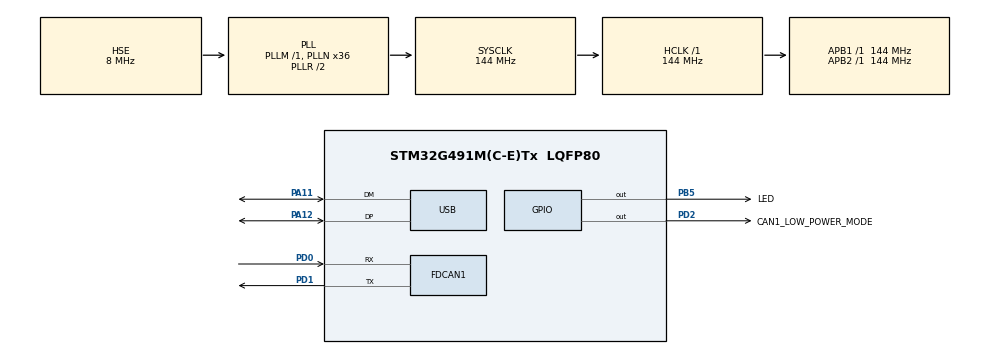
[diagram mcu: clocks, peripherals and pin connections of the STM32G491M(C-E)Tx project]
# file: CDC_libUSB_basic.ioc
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FDCAN1.AutoRetransmission=ENABLE
FDCAN1.FrameFormat=FDCAN_FRAME_CLASSIC
FDCAN1.NominalPrescaler=90
FDCAN1.NominalSyncJumpWidth=128
FDCAN1.NominalTimeSeg1=13
Mcu.Family=STM32G4
Mcu.Name=STM32G491M(C-E)Tx
Mcu.Package=LQFP80
NVIC.PriorityGroup=NVIC_PRIORITYGROUP_4
NVIC.USB_LP_IRQn=true\:0\:0\:false\:false\:true\:true\:true
PA11.Mode=Device
PA11.Signal=USB_DM
PA12.Mode=Device
PA12.Signal=USB_DP
PA13.Mode=Trace_Asynchronous_SW
PA13.Signal=SYS_JTMS-SWDIO
PA14.Mode=Trace_Asynchronous_SW
PA14.Signal=SYS_JTCK-SWCLK
PB3.Mode=Trace_Asynchronous_SW
PB3.Signal=SYS_JTDO-SWO
PB5.GPIO_Label=LED
PB5.Signal=GPIO_Output
PD0.Mode=FDCAN_Activate
PD0.Signal=FDCAN1_RX
PD1.Mode=FDCAN_Activate
PD1.Signal=FDCAN1_TX
PD2.GPIO_Label=CAN1_LOW_POWER_MODE
PD2.Signal=GPIO_Output
PF0-OSC_IN.Mode=HSE-External-Oscillator
PF0-OSC_IN.Signal=RCC_OSC_IN
PF1-OSC_OUT.Mode=HSE-External-Oscillator
PF1-OSC_OUT.Signal=RCC_OSC_OUT
ProjectManager.HeapSize=0x800
ProjectManager.StackSize=0x400
ProjectManager.TargetToolchain=STM32CubeIDE
RCC.ADC12Freq_Value=144000000
RCC.ADC345Freq_Value=144000000
RCC.AHBFreq_Value=144000000
RCC.APB1Freq_Value=144000000
RCC.APB1TimFreq_Value=144000000
RCC.APB2Freq_Value=144000000
RCC.APB2TimFreq_Value=144000000
RCC.CK48CLockSelection=RCC_USBCLKSOURCE_PLL
RCC.CortexFreq_Value=144000000
RCC.EXTERNAL_CLOCK_VALUE=12288000
RCC.HCLKFreq_Value=144000000
RCC.HSE_VALUE=8000000
RCC.HSI48_VALUE=48000000
RCC.HSI_VALUE=16000000
RCC.LSE_VALUE=32768
RCC.PLLN=36
RCC.PLLQ=RCC_PLLQ_DIV6
RCC.PLLSourceVirtual=RCC_PLLSOURCE_HSE
RCC.SYSCLKFreq_VALUE=144000000
RCC.SYSCLKSource=RCC_SYSCLKSOURCE_PLLCLK
RCC.USBFreq_Value=48000000
RCC.VCOOutputFreq_Value=288000000
USB_DEVICE.APP_RX_DATA_SIZE=1000
USB_DEVICE.APP_TX_DATA_SIZE=1000
USB_DEVICE.CLASS_NAME_FS=CDC
USB_DEVICE.PID_CDC_FS=0x0775
USB_DEVICE.PRODUCT_STRING_CDC_FS=cdc_libUSB_
USB_DEVICE.VID=0x1209
USB_DEVICE.VirtualMode=Cdc
USB_DEVICE.VirtualModeFS=Cdc_FS
VP_SYS_VS_DBSignals.Mode=DisableDeadBatterySignals
VP_USB_DEVICE_VS_USB_DEVICE_CDC_FS.Mode=CDC_FS
board=custom

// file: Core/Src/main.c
/* USER CODE BEGIN Header */
/**
  ******************************************************************************
  * @file           : main.c
  * @brief          : Main program body
  ******************************************************************************
  * @attention
  *
  * Copyright (c) 2022 STMicroelectronics.
  * All rights reserved.
  *
  * This software is licensed under terms that can be found in the LICENSE file
  * in the root directory of this software component.
  * If no LICENSE file comes with this software, it is provided AS-IS.
  *
  ******************************************************************************
  */
/* USER CODE END Header */
#include "main.h"
#include "usb_device.h"

/* USER CODE BEGIN Includes */
#include "ucan_fd_protocol_stm32g431.h"
#include "RING.h"
#include "usbd_cdc.h"
#include "usbd_cdc_if.h"
#include "dwt_delay.h"
#include "jump_to_boot.h"
/* USER CODE END Includes */

FDCAN_HandleTypeDef hfdcan1;

/* USER CODE BEGIN PV */
Ring_type usb_rx;
Ring_type usb_tx;
static volatile int i = 0;
uint8_t gotoboot_flag = 0;
uint32_t status_sys_tick;
/* USER CODE END PV */

void SystemClock_Config(void);
static void MX_GPIO_Init(void);
static void MX_FDCAN1_Init(void);
/* USER CODE BEGIN PFP */
extern USBD_HandleTypeDef hUsbDeviceFS;
/* USER CODE END PFP */

/* USER CODE BEGIN 0 */

UCAN_RxFrameDef can_rx_frames = {UCAN_FD_RX, 0, {} };

volatile static int counter = 1;
void TurnOffBoot0();
/* USER CODE END 0 */

int main(void)
{
  /* USER CODE BEGIN 1 */
    TurnOffBoot0();
    TurnOffBoot0();
  /* USER CODE END 1 */

  /* MCU Configuration--------------------------------------------------------*/

  /* Reset of all peripherals, Initializes the Flash interface and the Systick. */
  HAL_Init();

  /* USER CODE BEGIN Init */
    DWT_Init();
  /* USER CODE END Init */

  /* Configure the system clock */
  SystemClock_Config();

  /* Initialize all configured peripherals */
  MX_GPIO_Init();
  MX_USB_Device_Init();
  MX_FDCAN1_Init();
  /* USER CODE BEGIN 2 */
    HAL_FDCAN_Start(&hfdcan1);

    RING_init(&usb_rx);
    RING_init(&usb_tx);

    for (uint8_t i = 0; i < 10; i++)
    {
        HAL_Delay(i * 10);
        HAL_GPIO_TogglePin(LED_GPIO_Port, LED_Pin);
    }
  /* USER CODE END 2 */

  /* Infinite loop */
  /* USER CODE BEGIN WHILE */

//    while (1)
//    {
//
//        static uint8_t TxData[8];
//        static FDCAN_TxHeaderTypeDef TxHeader;
//        // Prepare Tx Header
//        TxHeader.Identifier = 0x321;
//        TxHeader.IdType = FDCAN_STANDARD_ID;
//        TxHeader.TxFrameType = FDCAN_DATA_FRAME;
//        TxHeader.DataLength = FDCAN_DLC_BYTES_8;
//        TxHeader.ErrorStateIndicator = FDCAN_ESI_ACTIVE;
//        TxHeader.BitRateSwitch = FDCAN_BRS_OFF;
//        TxHeader.FDFormat = FDCAN_CLASSIC_CAN;
//        TxHeader.TxEventFifoControl = FDCAN_NO_TX_EVENTS;
//        TxHeader.MessageMarker = 0;
//
//        while (1)
//        {
//            HAL_Delay(1000);
//            // Set the data to be transmitted
//            TxData[0] = 1;
//            TxData[1] = 0xAD;
//            TxData[7] = 0x36;
//            // Start the Transmission process
//            if (HAL_FDCAN_AddMessageToTxFifoQ(&hfdcan1, &TxHeader, TxData) != HAL_OK)
//            {
//                //Transmission request Error
//                Error_Handler();
//            }
//
//            //volatile uint32_t rx_fill = HAL_FDCAN_GetRxFifoFillLevel(&hfdcan1, FDCAN_RX_FIFO0);
//        }
//    }
    while (1)
    {
        volatile uint32_t rx_fill = HAL_FDCAN_GetRxFifoFillLevel(&hfdcan1,
        FDCAN_RX_FIFO0);
        //volatile uint32_t tx_fill = HAL_FDCAN_GetTxFifoFreeLevel(&hfdcan1);
        static Ring_item* data_ptr;

        //HAL_WWDG_Refresh(&hwwdg);

        data_ptr = RING_get(&usb_rx);
        if (data_ptr->data != NULL)
        {
            //FDCAN_InitTypeDef init_values;
            if (UCAN_execute_USB_to_CAN_frame(data_ptr->data) == 0)
            {

            }
        }

//		if (RING_is_empty(&usb_tx) == 0) {
//        //last delay
//        volatile uint32_t systic = HAL_GetTick();
//        DWT_Delay(300); /*300 us delay workaround for short frames  (@TODO fix this and test against 1 byte CAN data frame )*/
//
//        if (DWT_us_Timer_Done() == 1) /*non blocking workaround*/
        {
            if (CDC_Is_Busy() != USBD_BUSY)
            {
                if (can_rx_frames.can_frame_count > 0)
                {
                    data_ptr->data = (uint8_t*)&can_rx_frames;
                    data_ptr->len = sizeof(UCAN_RxFrameDef);
                }
                else // handle rest of frames is no CAN transactions
                {
                    data_ptr = RING_get(&usb_tx);
                }
                if (data_ptr->len != 0)
                {
                    while (CDC_Transmit_FS(data_ptr->data, data_ptr->len) == USBD_BUSY);
                    if (data_ptr->len == sizeof(UCAN_RxFrameDef))
                    {
                        can_rx_frames.can_frame_count = 0;
                    }
                    status_sys_tick = HAL_GetTick();
                    if (gotoboot_flag == 1)
                    {
                        for (uint8_t i = 0; i < 5; i++)
                        {
                            HAL_Delay(i * 200);
                            HAL_GPIO_TogglePin(LED_GPIO_Port, LED_Pin);
                        }
                        RebootToBootloader();
                    }
                }
            }
        }
//		}

        //reset device if no status frames
        if ((HAL_GetTick() - status_sys_tick) > 5000)
        {
            HAL_NVIC_SystemReset();
        }

        if (rx_fill >= 1)
        {
            if (can_rx_frames.can_frame_count < UCAN_RX_FRAME_DEF_CAN_COUNT_MAX)
            {

                if (HAL_FDCAN_GetRxMessage(&hfdcan1, FDCAN_RX_FIFO0,
                                           &(can_rx_frames.can_frame[can_rx_frames.can_frame_count].can_rx_header),
                                           can_rx_frames.can_frame[can_rx_frames.can_frame_count].can_data) == HAL_OK)
                {
                    // add EFF flag to ID if frame is extended:
                    if (can_rx_frames.can_frame[can_rx_frames.can_frame_count].can_rx_header.IdType == FDCAN_EXTENDED_ID)
                    {
                        can_rx_frames.can_frame[can_rx_frames.can_frame_count].can_rx_header.Identifier |= CAN_EFF_FLAG;
                    }

                    // clear packed_flags_and_error_counters
                    can_rx_frames.can_frame[can_rx_frames.can_frame_count].packed_flags_and_error_counters = 0;

                    HAL_GPIO_TogglePin(LED_GPIO_Port, LED_Pin);
                    i++;
                    can_rx_frames.can_frame_count++;
                }
            }
        }
    }
    /* USER CODE END WHILE */

}

void SystemClock_Config(void)
{
  RCC_OscInitTypeDef RCC_OscInitStruct = {0};
  RCC_ClkInitTypeDef RCC_ClkInitStruct = {0};

  /** Configure the main internal regulator output voltage
  */
  HAL_PWREx_ControlVoltageScaling(PWR_REGULATOR_VOLTAGE_SCALE1);
  /** Initializes the RCC Oscillators according to the specified parameters
  * in the RCC_OscInitTypeDef structure.
  */
  RCC_OscInitStruct.OscillatorType = RCC_OSCILLATORTYPE_HSE;
  RCC_OscInitStruct.HSEState = RCC_HSE_ON;
  RCC_OscInitStruct.PLL.PLLState = RCC_PLL_ON;
  RCC_OscInitStruct.PLL.PLLSource = RCC_PLLSOURCE_HSE;
  RCC_OscInitStruct.PLL.PLLM = RCC_PLLM_DIV1;
  RCC_OscInitStruct.PLL.PLLN = 36;
  RCC_OscInitStruct.PLL.PLLP = RCC_PLLP_DIV2;
  RCC_OscInitStruct.PLL.PLLQ = RCC_PLLQ_DIV6;
  RCC_OscInitStruct.PLL.PLLR = RCC_PLLR_DIV2;
  if (HAL_RCC_OscConfig(&RCC_OscInitStruct) != HAL_OK)
  {
    Error_Handler();
  }
  /** Initializes the CPU, AHB and APB buses clocks
  */
  RCC_ClkInitStruct.ClockType = RCC_CLOCKTYPE_HCLK|RCC_CLOCKTYPE_SYSCLK
                              |RCC_CLOCKTYPE_PCLK1|RCC_CLOCKTYPE_PCLK2;
  RCC_ClkInitStruct.SYSCLKSource = RCC_SYSCLKSOURCE_PLLCLK;
  RCC_ClkInitStruct.AHBCLKDivider = RCC_SYSCLK_DIV1;
  RCC_ClkInitStruct.APB1CLKDivider = RCC_HCLK_DIV1;
  RCC_ClkInitStruct.APB2CLKDivider = RCC_HCLK_DIV1;

  if (HAL_RCC_ClockConfig(&RCC_ClkInitStruct, FLASH_LATENCY_4) != HAL_OK)
  {
    Error_Handler();
  }
}

static void MX_FDCAN1_Init(void)
{

  hfdcan1.Instance = FDCAN1;
  hfdcan1.Init.ClockDivider = FDCAN_CLOCK_DIV1;
  hfdcan1.Init.FrameFormat = FDCAN_FRAME_CLASSIC;
  hfdcan1.Init.Mode = FDCAN_MODE_NORMAL;
  hfdcan1.Init.AutoRetransmission = ENABLE;
  hfdcan1.Init.TransmitPause = DISABLE;
  hfdcan1.Init.ProtocolException = DISABLE;
  hfdcan1.Init.NominalPrescaler = 90;
  hfdcan1.Init.NominalSyncJumpWidth = 128;
  hfdcan1.Init.NominalTimeSeg1 = 13;
  hfdcan1.Init.NominalTimeSeg2 = 2;
  hfdcan1.Init.DataPrescaler = 1;
  hfdcan1.Init.DataSyncJumpWidth = 1;
  hfdcan1.Init.DataTimeSeg1 = 1;
  hfdcan1.Init.DataTimeSeg2 = 1;
  hfdcan1.Init.StdFiltersNbr = 0;
  hfdcan1.Init.ExtFiltersNbr = 0;
  hfdcan1.Init.TxFifoQueueMode = FDCAN_TX_FIFO_OPERATION;
  if (HAL_FDCAN_Init(&hfdcan1) != HAL_OK)
  {
    Error_Handler();
  }

}

static void MX_GPIO_Init(void)
{
  GPIO_InitTypeDef GPIO_InitStruct = {0};

  /* GPIO Ports Clock Enable */
  __HAL_RCC_GPIOF_CLK_ENABLE();
  __HAL_RCC_GPIOA_CLK_ENABLE();
  __HAL_RCC_GPIOD_CLK_ENABLE();
  __HAL_RCC_GPIOB_CLK_ENABLE();

  /*Configure GPIO pin Output Level */
  HAL_GPIO_WritePin(CAN1_LOW_POWER_MODE_GPIO_Port, CAN1_LOW_POWER_MODE_Pin, GPIO_PIN_RESET);

  /*Configure GPIO pin Output Level */
  HAL_GPIO_WritePin(LED_GPIO_Port, LED_Pin, GPIO_PIN_RESET);

  /*Configure GPIO pin : CAN1_LOW_POWER_MODE_Pin */
  GPIO_InitStruct.Pin = CAN1_LOW_POWER_MODE_Pin;
  GPIO_InitStruct.Mode = GPIO_MODE_OUTPUT_PP;
  GPIO_InitStruct.Pull = GPIO_NOPULL;
  GPIO_InitStruct.Speed = GPIO_SPEED_FREQ_LOW;
  HAL_GPIO_Init(CAN1_LOW_POWER_MODE_GPIO_Port, &GPIO_InitStruct);

  /*Configure GPIO pin : LED_Pin */
  GPIO_InitStruct.Pin = LED_Pin;
  GPIO_InitStruct.Mode = GPIO_MODE_OUTPUT_PP;
  GPIO_InitStruct.Pull = GPIO_NOPULL;
  GPIO_InitStruct.Speed = GPIO_SPEED_FREQ_LOW;
  HAL_GPIO_Init(LED_GPIO_Port, &GPIO_InitStruct);

}

void Error_Handler(void)
{
    __disable_irq();
    while (1)
    {
    }
}
